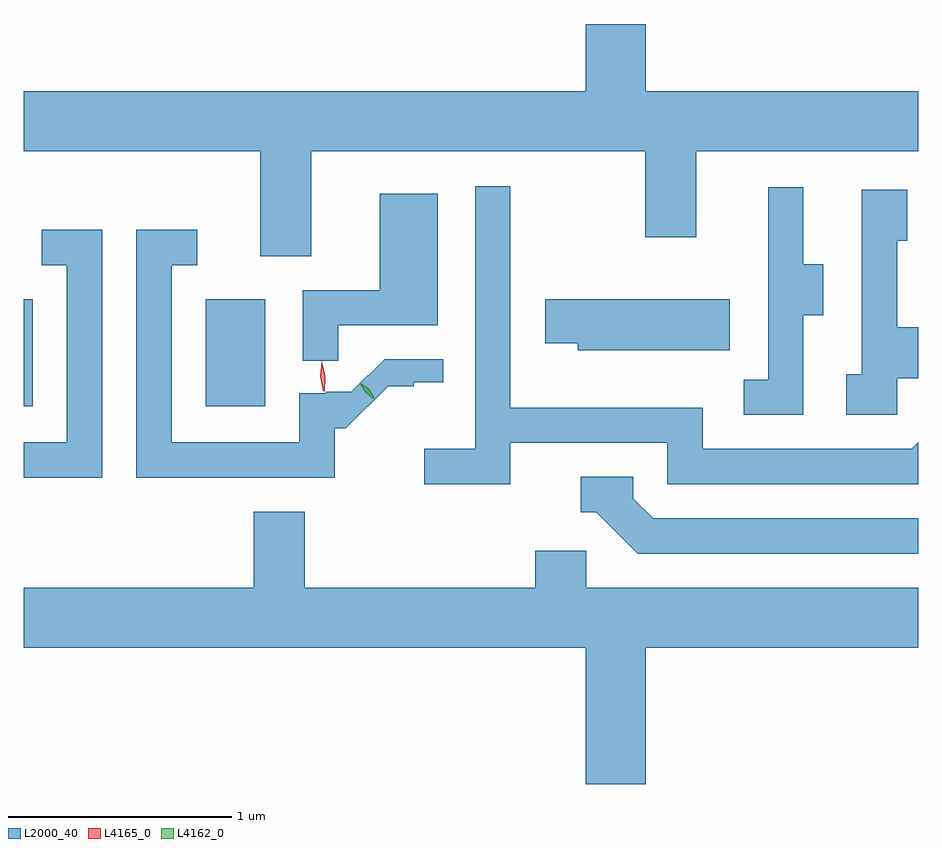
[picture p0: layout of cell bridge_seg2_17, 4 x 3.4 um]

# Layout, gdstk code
import gdstk
lib = gdstk.Library(unit=1e-6, precision=1e-09)
def R(c, l, rs):  # rectangles x0, y0, x1, y1
    for r in rs: c.add(gdstk.rectangle(r[:2], r[2:], *l))
def P(c, l, *ps):  # polygons
    for p in ps: c.add(gdstk.Polygon(p, *l))
L2000_40 = (2000, 40)
L4162_0 = (4162, 0)
L4165_0 = (4165, 0)

bridge_seg2_17 = lib.new_cell('bridge_seg2_17')
R(bridge_seg2_17, L2000_40, [(1731.043,1093.796,1731.084,1094.274), (1731.856,1093.796,1732.124,1094.274)])
P(bridge_seg2_17, L2000_40, [(1732.329,1094.936),(1733.821,1094.936),(1733.821,1094.551),(1734.049,1094.551),(1734.049,1094.936),(1735.043,1094.936),(1735.043,1095.204),(1733.824,1095.204),(1733.824,1095.504),(1733.556,1095.504),(1733.556,1095.204),(1731.043,1095.204),(1731.043,1094.936),(1732.101,1094.936),(1732.101,1094.466),(1732.329,1094.466)],
  [(1733.219,1093.631),(1733.921,1093.631),(1733.921,1093.446),(1735.043,1093.446),(1735.043,1093.633),(1735.014,1093.604),(1734.079,1093.604),(1734.079,1093.789),(1733.219,1093.789),(1733.219,1094.778),(1733.061,1094.778),(1733.061,1093.604),(1732.833,1093.604),(1732.833,1093.446),(1733.219,1093.446)],
  [(1734.529,1094.201),(1734.619,1094.201),(1734.619,1094.429),(1734.529,1094.429),(1734.529,1094.773),(1734.371,1094.773),(1734.371,1093.914),(1734.263,1093.914),(1734.263,1093.756),(1734.529,1093.756)],
  [(1734.949,1093.921),(1735.043,1093.921),(1735.043,1094.149),(1734.949,1094.149),(1734.949,1094.536),(1734.994,1094.536),(1734.994,1094.764),(1734.791,1094.764),(1734.791,1093.939),(1734.721,1093.939),(1734.721,1093.756),(1734.949,1093.756)],
  [(1732.449,1094.156),(1732.894,1094.156),(1732.894,1094.744),(1732.636,1094.744),(1732.636,1094.314),(1732.291,1094.314),(1732.291,1093.998),(1732.449,1093.998)],
  [(1731.394,1094.584),(1731.123,1094.584),(1731.123,1094.426),(1731.236,1094.426),(1731.236,1093.634),(1731.043,1093.634),(1731.043,1093.476),(1731.394,1093.476)],
  [(1732.434,1093.696),(1732.484,1093.696),(1732.672,1093.885),(1732.786,1093.885),(1732.786,1093.903),(1732.918,1093.903),(1732.918,1094.004),(1732.657,1094.004),(1732.584,1093.931),(1732.582,1093.933),(1732.508,1093.859),(1732.395,1093.859),(1732.395,1093.854),(1732.276,1093.854),(1732.276,1093.634),(1731.704,1093.634),(1731.704,1094.426),(1731.818,1094.426),(1731.818,1094.584),(1731.546,1094.584),(1731.546,1093.476),(1732.434,1093.476)],
  [(1734.199,1094.274),(1733.376,1094.274),(1733.376,1094.076),(1733.521,1094.076),(1733.521,1094.046),(1734.199,1094.046)],
  [(1735.043,1093.294),(1733.857,1093.294),(1733.769,1093.382),(1733.769,1093.479),(1733.533,1093.479),(1733.533,1093.321),(1733.604,1093.321),(1733.789,1093.136),(1735.043,1093.136)],
  [(1733.824,1092.716),(1735.043,1092.716),(1735.043,1092.984),(1733.559,1092.984),(1733.559,1093.149),(1733.331,1093.149),(1733.331,1092.984),(1732.299,1092.984),(1732.299,1093.324),(1732.071,1093.324),(1732.071,1092.984),(1731.043,1092.984),(1731.043,1092.716),(1733.556,1092.716),(1733.556,1092.106),(1733.824,1092.106)])
P(bridge_seg2_17, L4162_0, [(1732.611,1093.826),(1732.572,1093.855),(1732.548,1093.896),(1732.548,1093.897),(1732.548,1093.897),(1732.587,1093.868),(1732.611,1093.827),(1732.611,1093.826)],
  [(1732.609,1093.833),(1732.574,1093.858),(1732.553,1093.895),(1732.553,1093.896),(1732.554,1093.896),(1732.589,1093.871),(1732.61,1093.833),(1732.61,1093.833)])
P(bridge_seg2_17, L4165_0, [(1732.388,1093.86),(1732.372,1093.928),(1732.376,1093.997),(1732.376,1093.997),(1732.376,1093.997),(1732.392,1093.929),(1732.389,1093.86),(1732.389,1093.86)],
  [(1732.383,1093.862),(1732.37,1093.928),(1732.375,1093.994),(1732.376,1093.994),(1732.376,1093.994),(1732.39,1093.929),(1732.384,1093.862),(1732.384,1093.862)])

lib.write_gds('bridge_seg2_17.gds')
